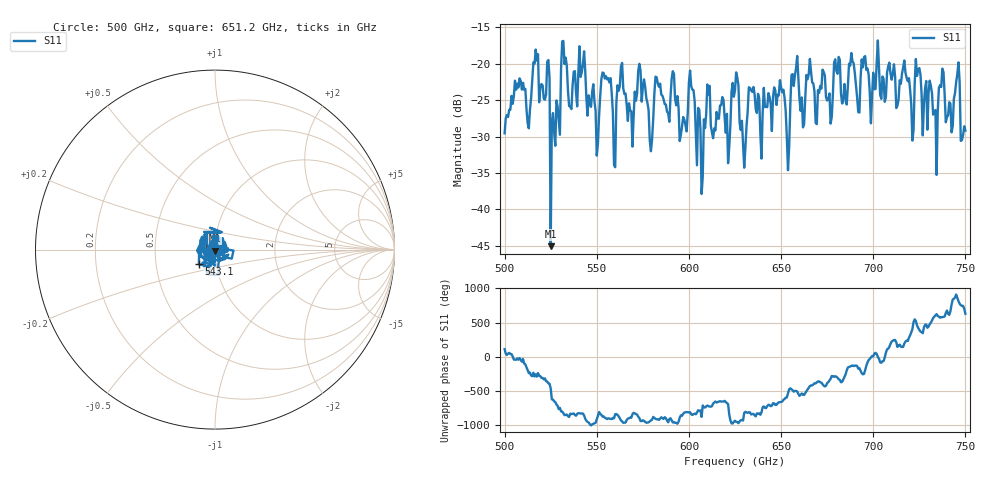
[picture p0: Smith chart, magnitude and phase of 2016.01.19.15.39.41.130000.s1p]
!Created with skrf (http://scikit-rf.org).
# GHz S RI R 50.0
!freq ReS11 ImS11
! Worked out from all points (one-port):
!   401 points, 500 GHz to 750 GHz, reference 50 ohm
!   lowest |S11| = -45.0 dB at 525 GHz (marker M1), VSWR 1.01, Z = 49.9 - j0.548 ohm
!   |S11| at or under -10 dB: start of sweep to end of sweep
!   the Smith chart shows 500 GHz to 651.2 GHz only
!   S11 on the Smith chart (normalised r, x): 500 GHz: 0.98, +0.06; 543.1 GHz: 0.83, -0.14; 651.2 GHz: 0.99, +0.13
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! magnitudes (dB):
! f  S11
! 500 GHz  -29.6
! 513.1 GHz  -28.9
! 516.9 GHz  -18.1
! 525 GHz  -45.0
! 526.2 GHz  -26.8
! 531.2 GHz  -16.9
! 543.1 GHz  -18.3
! 550 GHz  -32.6
! 554.4 GHz  -22.0
! 560 GHz  -34.2
! 562.5 GHz  -23.1
! 579.4 GHz  -32.0
! 593.8 GHz  -24.5
! 601.2 GHz  -23.1
! 607.5 GHz  -35.5
! 610 GHz  -22.9
! 621.2 GHz  -33.7
! 625 GHz  -23.6
! 629.4 GHz  -31.0
! 633.8 GHz  -23.7
! 651.2 GHz  -23.6
! 653.8 GHz  -34.6
! 656.2 GHz  -21.4
! 687.5 GHz  -20.3
! 718.8 GHz  -22.4
! 733.8 GHz  -26.4
! 745.6 GHz  -21.4
! 750 GHz  -29.2
